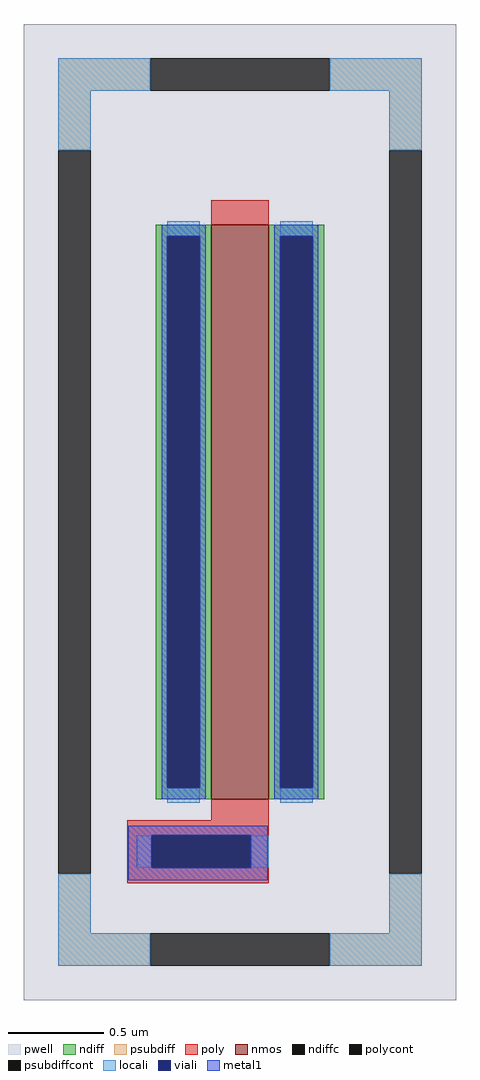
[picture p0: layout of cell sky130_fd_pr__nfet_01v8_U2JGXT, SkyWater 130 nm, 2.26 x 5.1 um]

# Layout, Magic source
magic
tech sky130A
magscale 1 2
<< pwell >>
rect -226 -510 226 510
<< nmos >>
rect -30 -300 30 300
<< ndiff >>
rect -88 288 -30 300
rect -88 -288 -76 288
rect -42 -288 -30 288
rect -88 -300 -30 -288
rect 30 288 88 300
rect 30 -288 42 288
rect 76 -288 88 288
rect 30 -300 88 -288
<< ndiffc >>
rect -76 -288 -42 288
rect 42 -288 76 288
<< psubdiff >>
rect -190 440 -94 474
rect 94 440 190 474
rect -190 378 -156 440
rect 156 378 190 440
rect -190 -440 -156 -378
rect 156 -440 190 -378
rect -190 -474 -94 -440
rect 94 -474 190 -440
<< psubdiffcont >>
rect -94 440 94 474
rect -190 -378 -156 378
rect 156 -378 190 378
rect -94 -474 94 -440
<< poly >>
rect -30 300 30 326
rect -30 -322 30 -300
rect -118 -338 30 -322
rect -118 -372 -92 -338
rect 11 -372 30 -338
rect -118 -388 30 -372
<< polycont >>
rect -92 -372 11 -338
<< locali >>
rect -190 440 -94 474
rect 94 440 190 474
rect -190 378 -156 440
rect 156 378 190 440
rect -76 288 -42 304
rect -76 -304 -42 -288
rect 42 288 76 304
rect 42 -304 76 -288
rect -108 -372 -92 -338
rect 11 -372 30 -338
rect -190 -440 -156 -378
rect 156 -440 190 -378
rect -190 -474 -94 -440
rect 94 -474 190 -440
<< viali >>
rect -76 -288 -42 288
rect 42 -288 76 288
rect -92 -372 11 -338
<< metal1 >>
rect -82 288 -36 300
rect -82 -288 -76 288
rect -42 -288 -36 288
rect -82 -300 -36 -288
rect 36 288 82 300
rect 36 -288 42 288
rect 76 -288 82 288
rect 36 -300 82 -288
rect -117 -338 29 -328
rect -117 -372 -92 -338
rect 11 -372 29 -338
rect -117 -385 29 -372
<< properties >>
string gencell sky130_fd_pr__nfet_01v8
string FIXED_BBOX -173 -457 173 457
string parameters w 3 l 0.3 m 1 nf 1 diffcov 100 polycov 100 guard 1 glc 1 grc 1 gtc 1 gbc 1 tbcov 100 rlcov 100 topc 1 botc 1 poverlap 0 doverlap 1 lmin 0.15 wmin 0.42 compatible {sky130_fd_pr__nfet_01v8 sky130_fd_pr__nfet_01v8_lvt  sky130_fd_bs_flash__special_sonosfet_star  sky130_fd_pr__nfet_g5v0d10v5 sky130_fd_pr__nfet_05v0_nvt  sky130_fd_pr__nfet_03v3_nvt} full_metal 1 viasrc 100 viadrn 100 viagate 100 viagb 0 viagr 0 viagl 0 viagt 0
string library sky130
<< end >>
